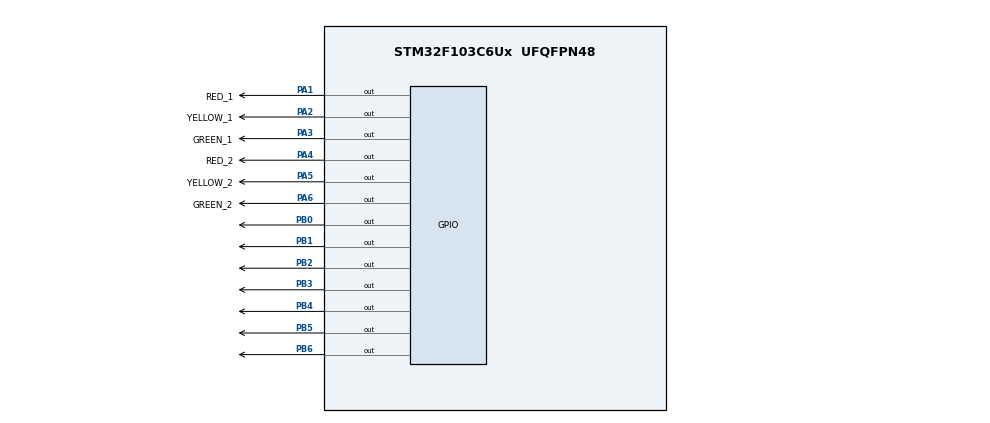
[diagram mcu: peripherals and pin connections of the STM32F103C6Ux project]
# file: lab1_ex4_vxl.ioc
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Mcu.Family=STM32F1
Mcu.Name=STM32F103C6Ux
Mcu.Package=UFQFPN48
NVIC.PriorityGroup=NVIC_PRIORITYGROUP_4
PA1.GPIO_Label=RED_1
PA1.Signal=GPIO_Output
PA2.GPIO_Label=YELLOW_1
PA2.Signal=GPIO_Output
PA3.GPIO_Label=GREEN_1
PA3.Signal=GPIO_Output
PA4.GPIO_Label=RED_2
PA4.Signal=GPIO_Output
PA5.GPIO_Label=YELLOW_2
PA5.Signal=GPIO_Output
PA6.GPIO_Label=GREEN_2
PA6.Signal=GPIO_Output
PB0.Signal=GPIO_Output
PB1.Signal=GPIO_Output
PB2.Signal=GPIO_Output
PB3.Signal=GPIO_Output
PB4.Signal=GPIO_Output
PB5.Signal=GPIO_Output
PB6.Signal=GPIO_Output
ProjectManager.HeapSize=0x200
ProjectManager.StackSize=0x400
ProjectManager.TargetToolchain=STM32CubeIDE
RCC.APB1Freq_Value=8000000
RCC.APB2Freq_Value=8000000
VP_SYS_VS_ND.Mode=No_Debug
board=custom

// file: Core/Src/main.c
/* USER CODE BEGIN Header */
/**
  ******************************************************************************
  * @file           : main.c
  * @brief          : Exercise 5 - Traffic Light with 7 Segment Countdown
  ******************************************************************************
  */
/* USER CODE END Header */

#include "main.h"

void SystemClock_Config(void);
static void MX_GPIO_Init(void);

/* USER CODE BEGIN PFP */

void clearAllLEDs(void);
void display7SEG(int num);
void countdown(int seconds);

/* USER CODE END PFP */

/* USER CODE BEGIN 0 */

/*
 * Turn OFF all traffic-light LEDs.
 *
 * Traffic LEDs are active-low:
 *
 * GPIO_PIN_RESET = ON
 * GPIO_PIN_SET   = OFF
 */
void clearAllLEDs(void)
{
    HAL_GPIO_WritePin(GPIOA,
                      RED_1_Pin |
                      YELLOW_1_Pin |
                      GREEN_1_Pin |
                      RED_2_Pin |
                      YELLOW_2_Pin |
                      GREEN_2_Pin,
                      GPIO_PIN_SET);
}
void display7SEG(int num)
{
    const uint8_t segTable[10][7] =
    {
        {1,1,1,1,1,1,0},   // 0
        {0,1,1,0,0,0,0},   // 1
        {1,1,0,1,1,0,1},   // 2
        {1,1,1,1,0,0,1},   // 3
        {0,1,1,0,0,1,1},   // 4
        {1,0,1,1,0,1,1},   // 5
        {1,0,1,1,1,1,1},   // 6
        {1,1,1,0,0,0,0},   // 7
        {1,1,1,1,1,1,1},   // 8
        {1,1,1,1,0,1,1}    // 9
    };

    const uint16_t segPins[7] =
    {
        GPIO_PIN_0,     // a
        GPIO_PIN_1,     // b
        GPIO_PIN_2,     // c
        GPIO_PIN_3,     // d
        GPIO_PIN_4,     // e
        GPIO_PIN_5,     // f
        GPIO_PIN_6      // g
    };
    /* Only allow numbers from 0 to 9 */
    if (num < 0 || num > 9)
    {
        return;
    }
    for (int i = 0; i < 7; i++)
    {
        if (segTable[num][i] == 1)
        {
            HAL_GPIO_WritePin(GPIOB,
                              segPins[i],
                              GPIO_PIN_RESET);
        }
        else
        {
            HAL_GPIO_WritePin(GPIOB,
                              segPins[i],
                              GPIO_PIN_SET);
        }
    }
}
void countdown(int seconds)
{
    for (int i = seconds; i > 0; i--)
    {
        display7SEG(i);

        HAL_Delay(1000);
    }
}

/* USER CODE END 0 */

int main(void)
{

    /* MCU Configuration--------------------------------------------------------*/

    /* Reset of all peripherals, Initializes the Flash interface and Systick. */
    HAL_Init();

    /* Configure the system clock */
    SystemClock_Config();

    /* Initialize all configured peripherals */
    MX_GPIO_Init();

    /* USER CODE BEGIN 2 */

    /*
     * Turn OFF all traffic-light LEDs at startup.
     */
    clearAllLEDs();

    /*
     * Turn OFF all 7-segment segments at startup.
     *
     * Common Anode:
     *
     * SET = OFF
     */
    HAL_GPIO_WritePin(GPIOB,
                      GPIO_PIN_0 |
                      GPIO_PIN_1 |
                      GPIO_PIN_2 |
                      GPIO_PIN_3 |
                      GPIO_PIN_4 |
                      GPIO_PIN_5 |
                      GPIO_PIN_6,
                      GPIO_PIN_SET);

    /* USER CODE END 2 */

    /* Infinite loop */
    /* USER CODE BEGIN WHILE */

    while (1)
    {

        /*
         * ==========================================================
         * PHASE 1
         *
         * Road 1 = RED
         * Road 2 = GREEN
         *
         * Duration = 3 seconds
         *
         * 7SEG:
         *
         * 3 -> 2 -> 1
         * ==========================================================
         */

        clearAllLEDs();

        HAL_GPIO_WritePin(GPIOA,
                          RED_1_Pin,
                          GPIO_PIN_RESET);

        HAL_GPIO_WritePin(GPIOA,
                          GREEN_2_Pin,
                          GPIO_PIN_RESET);

        countdown(3);

        /*
         * ==========================================================
         * PHASE 2
         *
         * Road 1 = RED
         * Road 2 = YELLOW
         *
         * Duration = 2 seconds
         *
         * 7SEG:
         *
         * 2 -> 1
         * ==========================================================
         */

        clearAllLEDs();

        HAL_GPIO_WritePin(GPIOA,
                          RED_1_Pin,
                          GPIO_PIN_RESET);

        HAL_GPIO_WritePin(GPIOA,
                          YELLOW_2_Pin,
                          GPIO_PIN_RESET);

        countdown(2);

        /*
         * ==========================================================
         * PHASE 3
         *
         * Road 1 = GREEN
         * Road 2 = RED
         *
         * Duration = 3 seconds
         *
         * 7SEG:
         *
         * 3 -> 2 -> 1
         * ==========================================================
         */

        clearAllLEDs();

        HAL_GPIO_WritePin(GPIOA,
                          GREEN_1_Pin,
                          GPIO_PIN_RESET);

        HAL_GPIO_WritePin(GPIOA,
                          RED_2_Pin,
                          GPIO_PIN_RESET);

        countdown(3);

        /*
         * ==========================================================
         * PHASE 4
         *
         * Road 1 = YELLOW
         * Road 2 = RED
         *
         * Duration = 2 seconds
         *
         * 7SEG:
         *
         * 2 -> 1
         * ==========================================================
         */

        clearAllLEDs();

        HAL_GPIO_WritePin(GPIOA,
                          YELLOW_1_Pin,
                          GPIO_PIN_RESET);

        HAL_GPIO_WritePin(GPIOA,
                          RED_2_Pin,
                          GPIO_PIN_RESET);

        countdown(2);

        /* USER CODE END WHILE */

    }
}

void SystemClock_Config(void)
{
    RCC_OscInitTypeDef RCC_OscInitStruct = {0};
    RCC_ClkInitTypeDef RCC_ClkInitStruct = {0};

    /**
      * Initializes the RCC Oscillators according to
      * the specified parameters.
      */
    RCC_OscInitStruct.OscillatorType =
            RCC_OSCILLATORTYPE_HSI;

    RCC_OscInitStruct.HSIState =
            RCC_HSI_ON;

    RCC_OscInitStruct.HSICalibrationValue =
            RCC_HSICALIBRATION_DEFAULT;

    RCC_OscInitStruct.PLL.PLLState =
            RCC_PLL_NONE;

    if (HAL_RCC_OscConfig(&RCC_OscInitStruct) != HAL_OK)
    {
        Error_Handler();
    }

    /**
      * Initializes CPU, AHB and APB clocks.
      */
    RCC_ClkInitStruct.ClockType =
            RCC_CLOCKTYPE_HCLK |
            RCC_CLOCKTYPE_SYSCLK |
            RCC_CLOCKTYPE_PCLK1 |
            RCC_CLOCKTYPE_PCLK2;

    RCC_ClkInitStruct.SYSCLKSource =
            RCC_SYSCLKSOURCE_HSI;

    RCC_ClkInitStruct.AHBCLKDivider =
            RCC_SYSCLK_DIV1;

    RCC_ClkInitStruct.APB1CLKDivider =
            RCC_HCLK_DIV1;

    RCC_ClkInitStruct.APB2CLKDivider =
            RCC_HCLK_DIV1;

    if (HAL_RCC_ClockConfig(&RCC_ClkInitStruct,
                            FLASH_LATENCY_0) != HAL_OK)
    {
        Error_Handler();
    }
}

static void MX_GPIO_Init(void)
{
    GPIO_InitTypeDef GPIO_InitStruct = {0};

    /*
     * GPIO Ports Clock Enable
     */
    __HAL_RCC_GPIOA_CLK_ENABLE();
    __HAL_RCC_GPIOB_CLK_ENABLE();

    /*
     * Initial level:
     *
     * Turn OFF traffic lights.
     */
    HAL_GPIO_WritePin(GPIOA,
                      RED_1_Pin |
                      YELLOW_1_Pin |
                      GREEN_1_Pin |
                      RED_2_Pin |
                      YELLOW_2_Pin |
                      GREEN_2_Pin,
                      GPIO_PIN_SET);

    /*
     * Initial level:
     *
     * Turn OFF 7-segment.
     */
    HAL_GPIO_WritePin(GPIOB,
                      GPIO_PIN_0 |
                      GPIO_PIN_1 |
                      GPIO_PIN_2 |
                      GPIO_PIN_3 |
                      GPIO_PIN_4 |
                      GPIO_PIN_5 |
                      GPIO_PIN_6,
                      GPIO_PIN_SET);

    /*
     * Configure traffic-light pins.
     *
     * PA1 = RED_1
     * PA2 = YELLOW_1
     * PA3 = GREEN_1
     * PA4 = RED_2
     * PA5 = YELLOW_2
     * PA6 = GREEN_2
     */
    GPIO_InitStruct.Pin =
            RED_1_Pin |
            YELLOW_1_Pin |
            GREEN_1_Pin |
            RED_2_Pin |
            YELLOW_2_Pin |
            GREEN_2_Pin;

    GPIO_InitStruct.Mode =
            GPIO_MODE_OUTPUT_PP;

    GPIO_InitStruct.Pull =
            GPIO_NOPULL;

    GPIO_InitStruct.Speed =
            GPIO_SPEED_FREQ_LOW;

    HAL_GPIO_Init(GPIOA, &GPIO_InitStruct);

    /*
     * Configure PB0 -> PB6 for 7-segment.
     *
     * PB0 = a
     * PB1 = b
     * PB2 = c
     * PB3 = d
     * PB4 = e
     * PB5 = f
     * PB6 = g
     */
    GPIO_InitStruct.Pin =
            GPIO_PIN_0 |
            GPIO_PIN_1 |
            GPIO_PIN_2 |
            GPIO_PIN_3 |
            GPIO_PIN_4 |
            GPIO_PIN_5 |
            GPIO_PIN_6;

    GPIO_InitStruct.Mode =
            GPIO_MODE_OUTPUT_PP;

    GPIO_InitStruct.Pull =
            GPIO_NOPULL;

    GPIO_InitStruct.Speed =
            GPIO_SPEED_FREQ_LOW;

    HAL_GPIO_Init(GPIOB, &GPIO_InitStruct);
}

void Error_Handler(void)
{
    __disable_irq();
    while (1)
    {
    }
}

#ifdef USE_FULL_ASSERT

/**
  * @brief Reports the name of the source file and
  * the source line number where assert_param error occurred.
  */
void assert_failed(uint8_t *file, uint32_t line)
{
    /* USER CODE BEGIN 6 */

    /* User can add implementation here */

    /* USER CODE END 6 */
}

#endif /* USE_FULL_ASSERT */
